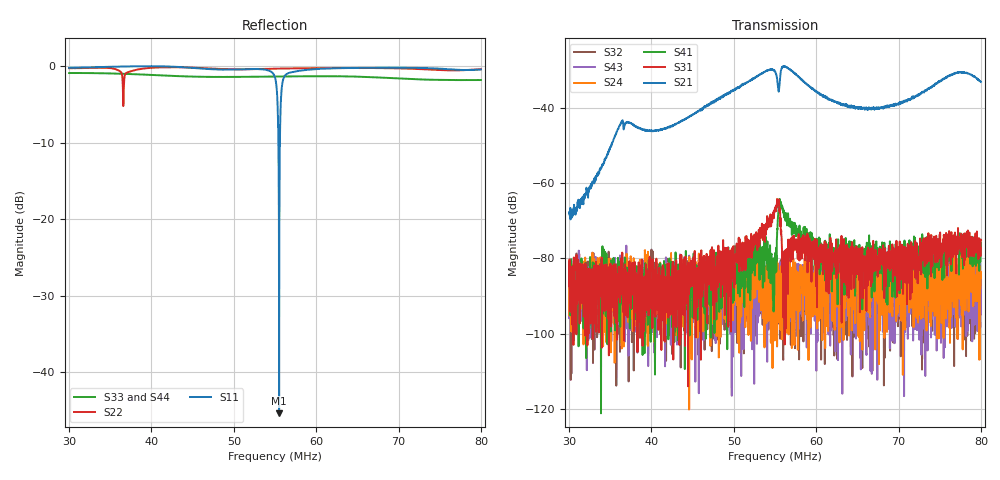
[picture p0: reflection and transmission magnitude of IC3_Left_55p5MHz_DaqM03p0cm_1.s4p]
#  HZ  S  DB  R  50.00
! Rohde & Schwarz Vector Network Analyzer
! Rohde-Schwarz,ZNB8-4Port,1311601044102961,2.82
! Created: UTC 2/13/2019, 9:08:35 AM
! freq[Hz]  db:S11  ang:S11  db:S12  ang:S12  db:S13  ang:S13  db:S14  ang:S14
!  db:S21  ang:S21  db:S22  ang:S22  db:S23  ang:S23  db:S24  ang:S24
!  db:S31  ang:S31  db:S32  ang:S32  db:S33  ang:S33  db:S34  ang:S34
!  db:S41  ang:S41  db:S42  ang:S42  db:S43  ang:S43  db:S44  ang:S44
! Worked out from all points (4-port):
!   2001 points, 30 MHz to 80 MHz, reference 50 ohm
!   strongest paths, dB at 30 MHz, 42.5 MHz, 55 MHz, 67.5 MHz, 80 MHz:
!     S21: -67.7, -44.8, -30.4, -40.1, -33.1
!     S31: -81.9, -92.1, -66.6, -80.8, -75.1
!     S41: -85.1, -98.3, -81.4, -79.6, -77.9
!     S24: -84.8, -84.2, -82.2, -89.0, -85.1
!     S43: -88.7, -86.3, -87.9, -85.6, -90.9
!     S32: -82.6, -89.2, -85.6, -97.0, -86.7
!   lowest |S11| = -45.4 dB at 55.5 MHz (marker M1), VSWR 1.01, Z = 49.5 + j0.231 ohm
!   |S11| at or under -10 dB: 55.40899 MHz to 55.59476 MHz (185.8 kHz wide, 0.335 % of centre)
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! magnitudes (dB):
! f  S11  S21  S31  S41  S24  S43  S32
! 30 MHz  -0.2  -67.7  -81.9  -85.1  -84.8  -88.7  -82.6
! 36.3 MHz  -0.1  -44.0  -80.0  -83.5  -88.4  -95.2  -82.5
! 54.85 MHz  -1.1  -29.9  -67.5  -87.3  -89.0  -87.9  -84.6
! 55.5 MHz  -45.4  -34.9  -66.1  -65.8  -91.4  -92.1  -92.5
! 56.15 MHz  -1.4  -29.0  -82.1  -69.1  -85.8  -92.7  -92.8
! 65.88 MHz  -0.3  -39.9  -80.0  -79.5  -80.7  -86.1  -90.9
! 80 MHz  -0.5  -33.1  -75.1  -77.9  -85.1  -90.9  -86.7
